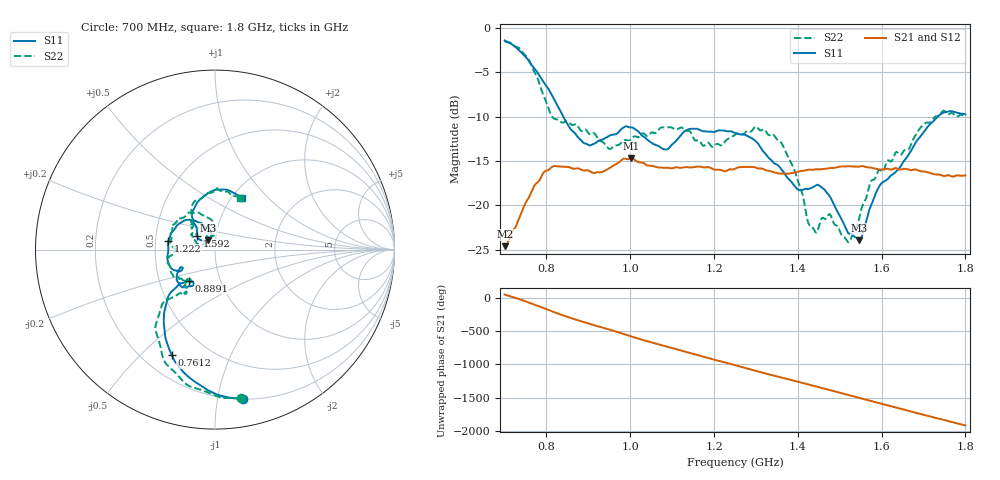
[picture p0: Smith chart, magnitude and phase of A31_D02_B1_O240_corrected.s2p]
! Created with skrf 1.9.0 (http://scikit-rf.org).
# Hz S RI R 50.0
!freq ReS11 ImS11 ReS21 ImS21 ReS12 ImS12 ReS22 ImS22
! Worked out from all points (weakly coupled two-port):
!   1601 points, 700 MHz to 1.8 GHz, reference 50 ohm
!   highest |S21| = -14.70 dB at 1.002 GHz (marker M1); lowest = -24.6 dB at 701.4 MHz (marker M2)
!   lowest |S11| = -23.9 dB at 1.547 GHz (marker M3), VSWR 1.14, Z = 46.1 + j4.73 ohm
!   |S11| at or under -10 dB: 840.1 MHz to 1.734 GHz (893.7 MHz wide, 69.4 % of centre)
!   |S22| runs from -24.2 to -1.5 dB; largest |S21 - S12| = 0.0035
!   S11 on the Smith chart (normalised r, x): 700 MHz: 0.20, -1.19; 761.2 MHz: 0.32, -0.62; 889.1 MHz: 0.71, -0.26; 1.222 GHz: 0.58, +0.06; 1.592 GHz: 0.81, +0.12; 1.8 GHz: 1.12, +0.72
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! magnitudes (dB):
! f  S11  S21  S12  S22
! 700 MHz  -1.4  -24.6  -24.4  -1.5
! 701.4 MHz  -1.5  -24.6  -24.2  -1.5
! 761.2 MHz  -4.0  -18.8  -18.7  -3.9
! 814.1 MHz  -7.7  -15.6  -15.7  -10.1
! 883.6 MHz  -12.7  -16.0  -15.9  -11.6
! 889.1 MHz  -13.0  -16.1  -16.0  -11.5
! 950.2 MHz  -12.1  -15.8  -15.8  -13.6
! 1.002 GHz  -11.2  -14.7  -14.8  -12.5
! 1.067 GHz  -13.3  -15.7  -15.7  -11.5
! 1.222 GHz  -11.6  -16.1  -16.1  -13.1
! 1.25 GHz  -11.8  -15.9  -15.8  -12.1
! 1.3 GHz  -12.8  -15.8  -15.7  -11.1
! 1.359 GHz  -15.8  -16.4  -16.4  -12.9
! 1.401 GHz  -18.2  -16.2  -16.2  -17.3
! 1.434 GHz  -18.0  -16.0  -16.0  -22.4
! 1.476 GHz  -19.0  -15.8  -15.8  -21.0
! 1.521 GHz  -23.1  -15.6  -15.6  -24.2
! 1.547 GHz  -23.9  -15.6  -15.6  -21.3
! 1.592 GHz  -18.0  -15.9  -15.9  -16.1
! 1.617 GHz  -16.9  -15.9  -15.9  -14.9
! 1.737 GHz  -9.8  -16.5  -16.6  -9.9
! 1.8 GHz  -9.7  -16.6  -16.6  -10.0
